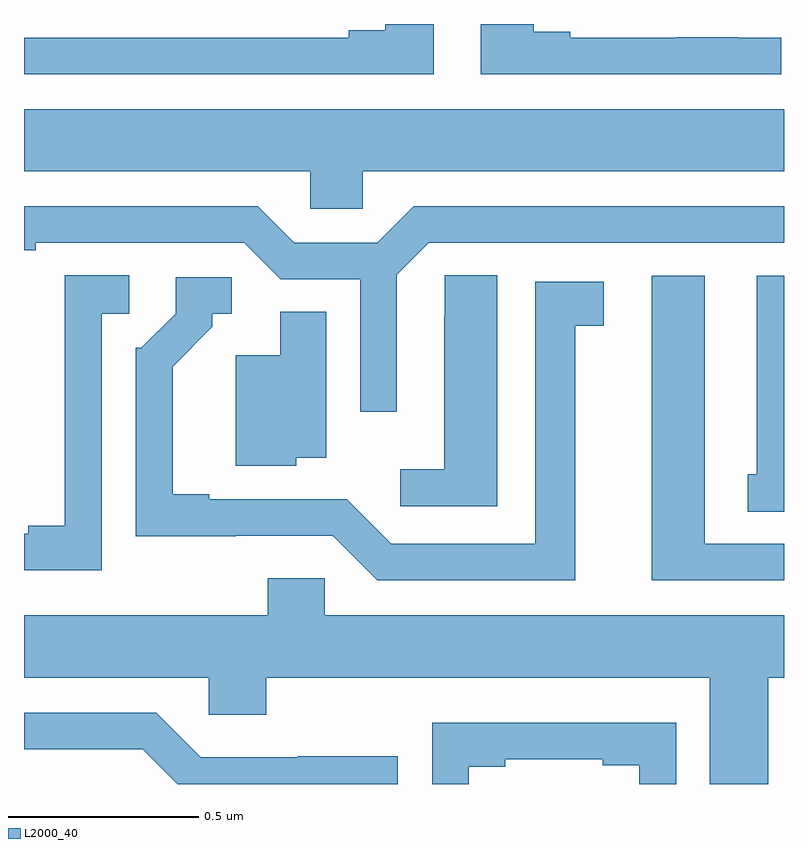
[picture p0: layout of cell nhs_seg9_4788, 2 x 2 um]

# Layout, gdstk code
import gdstk
lib = gdstk.Library(unit=1e-6, precision=1e-09)
def P(c, l, *ps):  # polygons
    for p in ps: c.add(gdstk.Polygon(p, *l))
L2000_40 = (2000, 40)

nhs_seg9_4788 = lib.new_cell('nhs_seg9_4788')
P(nhs_seg9_4788, L2000_40, [(172.993,1171.464),(172.88,1171.464),(172.88,1171.465),(172.714,1171.465),(172.714,1171.464),(172.438,1171.464),(172.438,1171.479),(172.342,1171.479),(172.342,1171.5),(172.202,1171.5),(172.202,1171.368),(172.993,1171.368)],
  [(172.078,1171.5),(171.95,1171.5),(171.95,1171.484),(171.854,1171.484),(171.854,1171.464),(171,1171.464),(171,1171.368),(172.078,1171.368)],
  [(171.891,1171.112),(173,1171.112),(173,1171.276),(171,1171.276),(171,1171.112),(171.753,1171.112),(171.753,1171.014),(171.891,1171.014)],
  [(171.981,1170.84),(172.065,1170.924),(173,1170.924),(173,1171.02),(172.025,1171.02),(171.929,1170.924),(171.711,1170.924),(171.615,1171.02),(171,1171.02),(171,1170.904),(171.031,1170.904),(171.031,1170.924),(171.579,1170.924),(171.675,1170.828),(171.885,1170.828),(171.885,1170.48),(171.981,1170.48)],
  [(171.204,1170.738),(171.277,1170.738),(171.277,1170.839),(171.107,1170.839),(171.107,1170.179),(171.011,1170.179),(171.011,1170.159),(171,1170.159),(171,1170.063),(171.204,1170.063)],
  [(172.246,1170.839),(172.107,1170.839),(172.107,1170.731),(172.106,1170.731),(172.106,1170.328),(171.99,1170.328),(171.99,1170.231),(172.246,1170.231)],
  [(173,1170.838),(172.928,1170.838),(172.928,1170.315),(172.904,1170.315),(172.904,1170.217),(173,1170.217)],
  [(173,1170.132),(172.792,1170.132),(172.792,1170.838),(172.652,1170.838),(172.652,1170.036),(173,1170.036)],
  [(172.45,1170.706),(172.525,1170.706),(172.525,1170.822),(172.346,1170.822),(172.346,1170.132),(171.966,1170.132),(171.849,1170.249),(171.487,1170.249),(171.487,1170.262),(171.391,1170.262),(171.391,1170.598),(171.496,1170.703),(171.496,1170.738),(171.547,1170.738),(171.547,1170.834),(171.399,1170.834),(171.399,1170.738),(171.309,1170.648),(171.294,1170.648),(171.294,1170.152),(171.557,1170.152),(171.557,1170.153),(171.813,1170.153),(171.93,1170.036),(172.45,1170.036)],
  [(171.717,1170.359),(171.796,1170.359),(171.796,1170.743),(171.674,1170.743),(171.674,1170.628),(171.557,1170.628),(171.557,1170.338),(171.717,1170.338)],
  [(171.792,1170.042),(171.641,1170.042),(171.641,1169.944),(171,1169.944),(171,1169.78),(171.486,1169.78),(171.486,1169.682),(171.638,1169.682),(171.638,1169.78),(172.805,1169.78),(172.805,1169.5),(172.958,1169.5),(172.958,1169.78),(173,1169.78),(173,1169.944),(171.792,1169.944)],
  [(171.984,1169.573),(171.721,1169.573),(171.721,1169.571),(171.465,1169.571),(171.348,1169.688),(171,1169.688),(171,1169.592),(171.312,1169.592),(171.404,1169.5),(171.984,1169.5)],
  [(172.171,1169.545),(172.267,1169.545),(172.267,1169.565),(172.523,1169.565),(172.523,1169.55),(172.619,1169.55),(172.619,1169.5),(172.716,1169.5),(172.716,1169.661),(172.074,1169.661),(172.074,1169.5),(172.171,1169.5)])

lib.write_gds('nhs_seg9_4788.gds')
